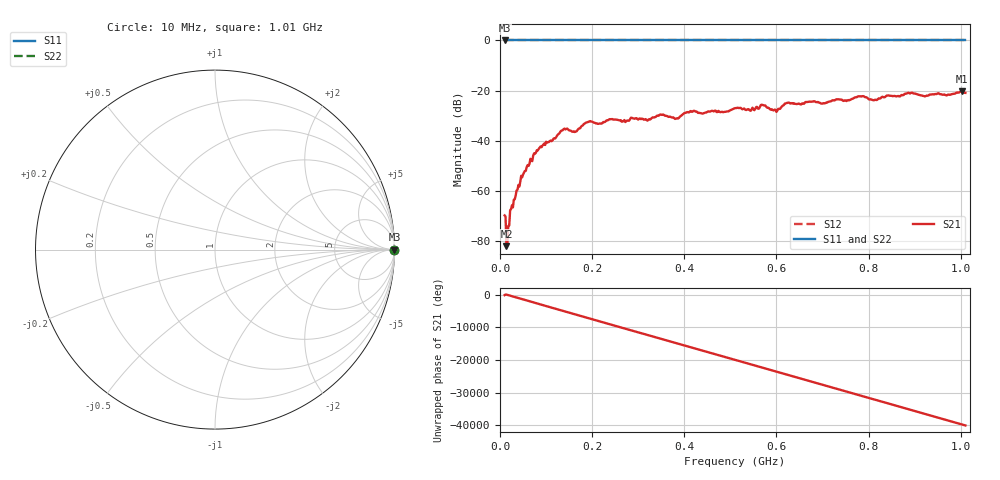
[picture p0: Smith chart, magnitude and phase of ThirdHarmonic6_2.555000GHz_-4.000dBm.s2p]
! 8/17/2025 5:14:48 AM
! C:\ANRITSUVNA\TEMP\TEMP.S2P
! CHANNEL.1
! TR.MEASUREMENT
! RAW.DATA
! RF.CORRECTION.OFF
! AVERAGING.OFF
! IF.BANDWIDTH: 5KHZ
! SWEEPTYPE:  FREQ.SWEEP(Linear)
! Reference Plane Port Info
! PORT:  PORT1  PORT2
! DISTANCE:  0  m  0  m
! TIME:  0  s  0  s
! PHASE.OFFSET:  0  deg.  0  deg.
! LOSS:  0  dB  0  dB
! REF.LOSS:  0  dB  0  dB
! REF.FREQ:  0  Hz  0  Hz
! Power Info
! POWER:  -20  dBm  -20  dBm
! EFF.POWER:  -20  dBm  -20  dBm
! SOURCE.ATTEN:  0  dB  0  dB
! TEST.ATTEN:  0  dB  0  dB
# GHZ S RI R 50.0
! FREQ.GHZ  S11RE  S11IM  S21RE  S21IM  S12RE  S12IM  S22RE  S22IM
!; PortSelection: Port_12
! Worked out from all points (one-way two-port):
!   501 points, 10 MHz to 1.01 GHz, reference 50 ohm
!   highest |S21| = -20.26 dB at 1.002 GHz (marker M1); lowest = -81.9 dB at 14 MHz (marker M2)
!   lowest |S11| = 0.0 dB at 10 MHz (marker M3)
!   |S11| at or under -10 dB: nowhere
!   |S22| runs from 0.0 to 0.0 dB; largest |S21 - S12| = 1.1
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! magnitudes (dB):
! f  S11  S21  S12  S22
! 10 MHz  0.0  -69.7  0.0  0.0
! 14 MHz  0.0  -81.9  0.0  0.0
! 18 MHz  0.0  -73.8  0.0  0.0
! 26 MHz  0.0  -65.6  0.0  0.0
! 48 MHz  0.0  -54.5  0.0  0.0
! 76 MHz  0.0  -45.1  0.0  0.0
! 136 MHz  0.0  -35.8  0.0  0.0
! 162 MHz  0.0  -36.5  0.0  0.0
! 178 MHz  0.0  -34.0  0.0  0.0
! 194 MHz  0.0  -32.2  0.0  0.0
! 322 MHz  0.0  -31.5  0.0  0.0
! 344 MHz  0.0  -30.0  0.0  0.0
! 384 MHz  0.0  -31.0  0.0  0.0
! 410 MHz  0.0  -28.7  0.0  0.0
! 510 MHz  0.0  -26.9  0.0  0.0
! 570 MHz  0.0  -25.7  0.0  0.0
! 598 MHz  0.0  -27.6  0.0  0.0
! 622 MHz  0.0  -24.9  0.0  0.0
! 678 MHz  0.0  -24.4  0.0  0.0
! 844 MHz  0.0  -21.9  0.0  0.0
! 1.002 GHz  0.0  -20.3  0.0  0.0
! 1.01 GHz  0.0  -20.9  0.0  0.0
